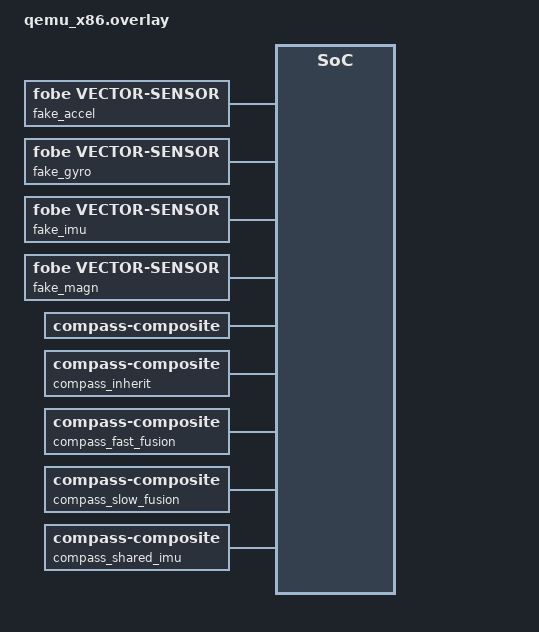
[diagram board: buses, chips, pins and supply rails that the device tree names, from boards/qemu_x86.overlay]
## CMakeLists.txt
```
# Copyright (c) 2026 FoBE Studio
# SPDX-License-Identifier: Apache-2.0

cmake_minimum_required(VERSION 3.20.0)

find_package(Zephyr REQUIRED HINTS $ENV{ZEPHYR_BASE})
project(compass_composite_test)

target_sources(app PRIVATE src/main.c)
```

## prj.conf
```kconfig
# SPDX-FileCopyrightText: FoBE Studio
# SPDX-License-Identifier: Apache-2.0

CONFIG_ZTEST=y
CONFIG_ASSERT=y

CONFIG_LOG=y
CONFIG_LOG_MODE_MINIMAL=y

CONFIG_SENSOR=y
CONFIG_COMPASS_COMPOSITE=y
```

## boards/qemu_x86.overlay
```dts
/*
 * Copyright (c) 2026 FoBE Studio
 *
 * SPDX-License-Identifier: Apache-2.0
 */

/ {
	fake_accel: fake_accel {
		compatible = "fobe,vector-sensor";
		status = "okay";
	};

	fake_gyro: fake_gyro {
		compatible = "fobe,vector-sensor";
		status = "okay";
	};

	fake_imu: fake_imu {
		compatible = "fobe,vector-sensor";
		status = "okay";
	};

	fake_magn: fake_magn {
		compatible = "fobe,vector-sensor";
		status = "okay";
	};

	compass: compass {
		compatible = "zephyr,compass-composite";
		accel-source = <&fake_accel>;
		gyro-source = <&fake_gyro>;
		magn-source = <&fake_magn>;
		calibration-sample-period-ms = <0>;
		gyro-fusion-alpha-milli = <1000>;
		imu-rate-override-supported;
		gyro-axis-remap = <1 0 2>;
		gyro-axis-sign = <1 1 1>;
	};

	compass_inherit: compass_inherit {
		compatible = "zephyr,compass-composite";
		accel-source = <&fake_accel>;
		gyro-source = <&fake_gyro>;
		magn-source = <&fake_magn>;
		gyro-fusion-alpha-milli = <1000>;
		accel-axis-remap = <1 0 2>;
		accel-axis-sign = <1 1 1>;
	};

	compass_fast_fusion: compass_fast_fusion {
		compatible = "zephyr,compass-composite";
		accel-source = <&fake_accel>;
		gyro-source = <&fake_gyro>;
		magn-source = <&fake_magn>;
		calibration-sample-period-ms = <0>;
		gyro-fusion-alpha-milli = <850>;
	};

	compass_slow_fusion: compass_slow_fusion {
		compatible = "zephyr,compass-composite";
		accel-source = <&fake_accel>;
		gyro-source = <&fake_gyro>;
		magn-source = <&fake_magn>;
		calibration-sample-period-ms = <0>;
		gyro-fusion-alpha-milli = <850>;
	};

	compass_shared_imu: compass_shared_imu {
		compatible = "zephyr,compass-composite";
		accel-source = <&fake_imu>;
		gyro-source = <&fake_imu>;
		magn-source = <&fake_magn>;
		calibration-sample-period-ms = <0>;
		gyro-fusion-alpha-milli = <850>;
	};
};
```

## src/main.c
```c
/*
 * Copyright (c) 2026 FoBE Studio
 *
 * SPDX-License-Identifier: Apache-2.0
 */

#include <math.h>
#include <stdint.h>

#include <zephyr/device.h>
#include <zephyr/drivers/sensor.h>
#include <drivers/sensor/compass_composite.h>
#include <zephyr/sys/util.h>
#include <zephyr/ztest.h>

#define ACCEL_NODE           DT_NODELABEL(fake_accel)
#define GYRO_NODE            DT_NODELABEL(fake_gyro)
#define IMU_NODE             DT_NODELABEL(fake_imu)
#define MAGN_NODE            DT_NODELABEL(fake_magn)
#define COMPASS_NODE         DT_NODELABEL(compass)
#define COMPASS_INHERIT_NODE DT_NODELABEL(compass_inherit)
#define COMPASS_FAST_NODE    DT_NODELABEL(compass_fast_fusion)
#define COMPASS_SLOW_NODE    DT_NODELABEL(compass_slow_fusion)
#define COMPASS_SHARED_NODE  DT_NODELABEL(compass_shared_imu)

struct vector_sensor_data {
	double xyz[3];
	double delayed_xyz[3];
	int generic_fetch_rc;
	int channel_fetch_rc;
	uint32_t fetch_count;
	uint32_t fetch_chan_count;
	uint32_t last_fetch_order;
	uint8_t valid_after_fetch_count;
	int accel_attr_set_rc;
	int gyro_attr_set_rc;
	struct sensor_value accel_rate;
	struct sensor_value gyro_rate;
};

static struct vector_sensor_data accel_data;
static struct vector_sensor_data gyro_data;
static struct vector_sensor_data imu_data;
static struct vector_sensor_data magn_data;
static uint32_t fetch_order;

static const struct device *const compass_dev = DEVICE_DT_GET(COMPASS_NODE);
static const struct device *const compass_inherit_dev = DEVICE_DT_GET(COMPASS_INHERIT_NODE);
static const struct device *const compass_fast_dev = DEVICE_DT_GET(COMPASS_FAST_NODE);
static const struct device *const compass_slow_dev = DEVICE_DT_GET(COMPASS_SLOW_NODE);
static const struct device *const compass_shared_dev = DEVICE_DT_GET(COMPASS_SHARED_NODE);

static const double level_xy_samples[][2] = {
	{0.30, 0.00},  {0.21, 0.21},   {0.00, 0.30},  {-0.21, 0.21},
	{-0.30, 0.00}, {-0.21, -0.21}, {0.00, -0.30}, {0.21, -0.21},
};

static int vector_sensor_init(const struct device *dev)
{
	ARG_UNUSED(dev);

	return 0;
}

static int vector_sensor_sample_fetch(const struct device *dev, enum sensor_channel chan)
{
	struct vector_sensor_data *data = dev->data;
	uint32_t total_fetch_count;

	data->last_fetch_order = ++fetch_order;
	if (chan == SENSOR_CHAN_ALL) {
		data->fetch_count++;
	} else {
		data->fetch_chan_count++;
	}

	total_fetch_count = data->fetch_count + data->fetch_chan_count;
	if ((data->valid_after_fetch_count > 0U) &&
	    (total_fetch_count >= data->valid_after_fetch_count)) {
		for (size_t i = 0; i < ARRAY_SIZE(data->xyz); i++) {
			data->xyz[i] = data->delayed_xyz[i];
		}
		data->valid_after_fetch_count = 0U;
	}

	return chan == SENSOR_CHAN_ALL ? data->generic_fetch_rc : data->channel_fetch_rc;
}

static int vector_sensor_channel_get(const struct device *dev, enum sensor_channel chan,
				     struct sensor_value *val)
{
	struct vector_sensor_data *data = dev->data;

	ARG_UNUSED(chan);

	for (size_t i = 0; i < 3; i++) {
		zassert_ok(sensor_value_from_double(&val[i], data->xyz[i]));
	}

	return 0;
}

static int vector_sensor_attr_set(const struct device *dev, enum sensor_channel chan,
				  enum sensor_attribute attr, const struct sensor_value *val)
{
	struct vector_sensor_data *data = dev->data;

	if (val == NULL || attr != SENSOR_ATTR_SAMPLING_FREQUENCY) {
		return -ENOTSUP;
	}
	if (chan == SENSOR_CHAN_ACCEL_XYZ) {
		if (data->accel_attr_set_rc != 0) {
			return data->accel_attr_set_rc;
		}
		data->accel_rate = *val;
		return 0;
	}
	if (chan == SENSOR_CHAN_GYRO_XYZ) {
		if (data->gyro_attr_set_rc != 0) {
			return data->gyro_attr_set_rc;
		}
		data->gyro_rate = *val;
		return 0;
	}
	return -ENOTSUP;
}

static int vector_sensor_attr_get(const struct device *dev, enum sensor_channel chan,
				  enum sensor_attribute attr, struct sensor_value *val)
{
	struct vector_sensor_data *data = dev->data;

	if (val == NULL || attr != SENSOR_ATTR_SAMPLING_FREQUENCY) {
		return -ENOTSUP;
	}
	if (chan == SENSOR_CHAN_ACCEL_XYZ) {
		*val = data->accel_rate;
		return 0;
	}
	if (chan == SENSOR_CHAN_GYRO_XYZ) {
		*val = data->gyro_rate;
		return 0;
	}
	return -ENOTSUP;
}

static DEVICE_API(sensor, vector_sensor_api) = {
	.sample_fetch = vector_sensor_sample_fetch,
	.channel_get = vector_sensor_channel_get,
	.attr_set = vector_sensor_attr_set,
	.attr_get = vector_sensor_attr_get,
};

DEVICE_DT_DEFINE(ACCEL_NODE, vector_sensor_init, NULL, &accel_data, NULL, POST_KERNEL, 80,
		 &vector_sensor_api);
DEVICE_DT_DEFINE(GYRO_NODE, vector_sensor_init, NULL, &gyro_data, NULL, POST_KERNEL, 80,
		 &vector_sensor_api);
DEVICE_DT_DEFINE(IMU_NODE, vector_sensor_init, NULL, &imu_data, NULL, POST_KERNEL, 80,
		 &vector_sensor_api);
DEVICE_DT_DEFINE(MAGN_NODE, vector_sensor_init, NULL, &magn_data, NULL, POST_KERNEL, 80,
		 &vector_sensor_api);

static void reset_vectors(void)
{
	struct sensor_value normal_rate = {.val1 = 12, .val2 = 500000};

	accel_data = (struct vector_sensor_data){.xyz = {0.0, 0.0, 1.0},
						.accel_rate = normal_rate,
						.gyro_rate = normal_rate};
	gyro_data = (struct vector_sensor_data){.xyz = {0.0, 0.0, 0.0},
					       .accel_rate = normal_rate,
					       .gyro_rate = normal_rate};
	imu_data = (struct vector_sensor_data){.xyz = {0.0, 0.0, 1.0},
					      .accel_rate = normal_rate,
					      .gyro_rate = normal_rate};
	magn_data = (struct vector_sensor_data){.xyz = {1.0, 0.0, 0.0},
					       .accel_rate = normal_rate,
					       .gyro_rate = normal_rate};
	fetch_order = 0U;
}

static void clear_compass_calibration(const struct device *dev)
{
	static const enum sensor_channel axes[] = {
		SENSOR_CHAN_MAGN_X,
		SENSOR_CHAN_MAGN_Y,
		SENSOR_CHAN_MAGN_Z,
	};
	struct sensor_value zero = {0};
	struct sensor_value trigger = {.val1 = 1};

	for (size_t i = 0; i < ARRAY_SIZE(axes); i++) {
		zassert_ok(sensor_attr_set(dev, axes[i], SENSOR_ATTR_COMPASS_MAG_SCALE, &zero));
	}

	zassert_ok(sensor_attr_set(dev, SENSOR_CHAN_COMPASS_HEADING, SENSOR_ATTR_COMPASS_CAL_RESET,
				   &trigger));
}

static void feed_level_xy_calibration_with_bias(const struct device *dev, double bias_x,
						double bias_y, double magn_z)
{
	for (size_t i = 0; i < ARRAY_SIZE(level_xy_samples); i++) {
		magn_data.xyz[0] = bias_x + level_xy_samples[i][0];
		magn_data.xyz[1] = bias_y + level_xy_samples[i][1];
		magn_data.xyz[2] = magn_z;
		zassert_ok(sensor_sample_fetch(dev));
	}
}

static void feed_level_xy_calibration(const struct device *dev)
{
	feed_level_xy_calibration_with_bias(dev, 0.0, 0.0, 0.02);
}

static double get_heading(const struct device *dev)
{
	struct sensor_value val;

	zassert_ok(sensor_channel_get(dev, SENSOR_CHAN_COMPASS_HEADING, &val));
	return sensor_value_to_double(&val);
}

static void *compass_setup(void)
{
	zassert_true(device_is_ready(compass_dev));
	zassert_true(device_is_ready(compass_inherit_dev));
	zassert_true(device_is_ready(compass_fast_dev));
	zassert_true(device_is_ready(compass_slow_dev));
	zassert_true(device_is_ready(compass_shared_dev));

	return NULL;
}

static void compass_before(void *fixture)
{
	ARG_UNUSED(fixture);

	reset_vectors();
	clear_compass_calibration(compass_dev);
	clear_compass_calibration(compass_inherit_dev);
	clear_compass_calibration(compass_fast_dev);
	clear_compass_calibration(compass_slow_dev);
	clear_compass_calibration(compass_shared_dev);
}

ZTEST(compass_composite, test_fetches_only_configured_channels)
{
	zassert_ok(sensor_sample_fetch(compass_dev));
	zassert_equal(accel_data.fetch_count, 0);
	zassert_equal(gyro_data.fetch_count, 0);
	zassert_equal(magn_data.fetch_count, 0);
	zassert_equal(accel_data.fetch_chan_count, 1);
	zassert_equal(gyro_data.fetch_chan_count, 1);
	zassert_equal(magn_data.fetch_chan_count, 1);
}

ZTEST(compass_composite, test_shared_imu_uses_one_burst_after_magnetometer)
{
	zassert_ok(sensor_sample_fetch(compass_shared_dev));
	zassert_equal(magn_data.fetch_chan_count, 1U);
	zassert_equal(imu_data.fetch_count, 1U);
	zassert_equal(imu_data.fetch_chan_count, 0U);
	zassert_true(magn_data.last_fetch_order < imu_data.last_fetch_order,
		     "magnetometer order=%u imu order=%u", magn_data.last_fetch_order,
		     imu_data.last_fetch_order);
}

ZTEST(compass_composite, test_imu_rate_override_restores_exact_rates)
{
	struct sensor_value rate;

	zassert_ok(compass_composite_imu_rate_override(compass_dev, 104U));
	zassert_ok(sensor_attr_get(DEVICE_DT_GET(ACCEL_NODE), SENSOR_CHAN_ACCEL_XYZ,
				   SENSOR_ATTR_SAMPLING_FREQUENCY, &rate));
	zassert_equal(rate.val1, 104);
	zassert_ok(sensor_attr_get(DEVICE_DT_GET(GYRO_NODE), SENSOR_CHAN_GYRO_XYZ,
				   SENSOR_ATTR_SAMPLING_FREQUENCY, &rate));
	zassert_equal(rate.val1, 104);
	zassert_ok(compass_composite_imu_rate_restore(compass_dev));
	zassert_ok(sensor_attr_get(DEVICE_DT_GET(ACCEL_NODE), SENSOR_CHAN_ACCEL_XYZ,
				   SENSOR_ATTR_SAMPLING_FREQUENCY, &rate));
	zassert_equal(rate.val1, 12);
	zassert_equal(rate.val2, 500000);
	zassert_ok(sensor_attr_get(DEVICE_DT_GET(GYRO_NODE), SENSOR_CHAN_GYRO_XYZ,
				   SENSOR_ATTR_SAMPLING_FREQUENCY, &rate));
	zassert_equal(rate.val1, 12);
	zassert_equal(rate.val2, 500000);
}

ZTEST(compass_composite, test_imu_rate_override_capability_follows_dts)
{
	struct sensor_value capabilities;
	struct sensor_value rate = {.val1 = 104};

	zassert_ok(sensor_attr_get(compass_dev, SENSOR_CHAN_COMPASS_HEADING,
				   SENSOR_ATTR_COMPASS_CAPABILITIES, &capabilities));
	zassert_true((capabilities.val1 & COMPASS_CAP_RATE_OVERRIDE) != 0);
	zassert_ok(sensor_attr_get(compass_inherit_dev, SENSOR_CHAN_COMPASS_HEADING,
				   SENSOR_ATTR_COMPASS_CAPABILITIES, &capabilities));
	zassert_false((capabilities.val1 & COMPASS_CAP_RATE_OVERRIDE) != 0);
	zassert_equal(sensor_attr_set(compass_inherit_dev, SENSOR_CHAN_COMPASS_HEADING,
				      SENSOR_ATTR_COMPASS_RATE_OVERRIDE, &rate),
		      -ENOTSUP);
	zassert_equal(compass_composite_imu_rate_override(compass_inherit_dev, 104U), -ENOTSUP);
	zassert_ok(compass_composite_imu_rate_restore(compass_inherit_dev));
}

ZTEST(compass_composite, test_imu_rate_override_rolls_back_partial_failure)
{
	struct sensor_value rate;

	gyro_data.gyro_attr_set_rc = -EIO;
	zassert_equal(compass_composite_imu_rate_override(compass_dev, 104U), -EIO);
	zassert_ok(sensor_attr_get(DEVICE_DT_GET(ACCEL_NODE), SENSOR_CHAN_ACCEL_XYZ,
				   SENSOR_ATTR_SAMPLING_FREQUENCY, &rate));
	zassert_equal(rate.val1, 12);
	zassert_equal(rate.val2, 500000);
	zassert_ok(compass_composite_imu_rate_restore(compass_dev));
}

ZTEST(compass_composite, test_channel_fetch_falls_back_to_generic_fetch)
{
	accel_data.channel_fetch_rc = -ENOTSUP;
	gyro_data.channel_fetch_rc = -ENOTSUP;
	magn_data.channel_fetch_rc = -ENOTSUP;

	zassert_ok(sensor_sample_fetch(compass_dev));
	zassert_equal(accel_data.fetch_count, 1);
	zassert_equal(gyro_data.fetch_count, 1);
	zassert_equal(magn_data.fetch_count, 1);
	zassert_equal(accel_data.fetch_chan_count, 1);
	zassert_equal(gyro_data.fetch_chan_count, 1);
	zassert_equal(magn_data.fetch_chan_count, 1);
}

ZTEST(compass_composite, test_retries_invalid_first_source_sample)
{
	accel_data.xyz[0] = 0.0;
	accel_data.xyz[1] = 0.0;
	accel_data.xyz[2] = 0.0;
	accel_data.delayed_xyz[0] = 0.0;
	accel_data.delayed_xyz[1] = 0.0;
	accel_data.delayed_xyz[2] = 1.0;
	accel_data.valid_after_fetch_count = 2U;

	zassert_ok(sensor_sample_fetch(compass_dev));
	zassert_equal(accel_data.fetch_chan_count, 2U);
	zassert_true(get_heading(compass_dev) >= 0.0);
}

ZTEST(compass_composite, test_independent_gyro_axis_mapping_affects_fusion)
{
	double before;
	double after;

	accel_data.xyz[0] = 1.0;
	accel_data.xyz[1] = 0.0;
	accel_data.xyz[2] = 0.0;
	magn_data.xyz[0] = 0.0;
	magn_data.xyz[1] = 1.0;
	magn_data.xyz[2] = 0.0;

	zassert_ok(sensor_sample_fetch(compass_dev));
	before = get_heading(compass_dev);

	k_sleep(K_MSEC(120));
	gyro_data.xyz[0] = 0.0;
	gyro_data.xyz[1] = 1.0;
	gyro_data.xyz[2] = 0.0;
	zassert_ok(sensor_sample_fetch(compass_dev));
	after = get_heading(compass_dev);

	zassert_true(fabs(after - before) > 1.0, "heading delta was %f", fabs(after - before));
}

ZTEST(compass_composite, test_gyro_mapping_inherits_accel_mapping_when_omitted)
{
	double before;
	double after;

	accel_data.xyz[0] = 0.0;
	accel_data.xyz[1] = 1.0;
	accel_data.xyz[2] = 0.0;
	magn_data.xyz[0] = 0.0;
	magn_data.xyz[1] = 1.0;
	magn_data.xyz[2] = 0.0;

	zassert_ok(sensor_sample_fetch(compass_inherit_dev));
	before = get_heading(compass_inherit_dev);

	k_sleep(K_MSEC(120));
	gyro_data.xyz[0] = 0.0;
	gyro_data.xyz[1] = 1.0;
	gyro_data.xyz[2] = 0.0;
	zassert_ok(sensor_sample_fetch(compass_inherit_dev));
	after = get_heading(compass_inherit_dev);

	zassert_true(fabs(after - before) > 1.0, "heading delta was %f", fabs(after - before));
}

ZTEST(compass_composite, test_fusion_response_is_sample_rate_invariant)
{
	double fast_heading;
	double slow_heading;

	magn_data.xyz[0] = 1.0;
	magn_data.xyz[1] = 0.0;
	zassert_ok(sensor_sample_fetch(compass_fast_dev));
	zassert_ok(sensor_sample_fetch(compass_slow_dev));

	magn_data.xyz[0] = 0.0;
	magn_data.xyz[1] = 1.0;
	for (size_t i = 0; i < 5U; i++) {
		k_sleep(K_MSEC(20));
		zassert_ok(sensor_sample_fetch(compass_fast_dev));
	}
	zassert_ok(sensor_sample_fetch(compass_slow_dev));

	fast_heading = get_heading(compass_fast_dev);
	slow_heading = get_heading(compass_slow_dev);
	zassert_within(fast_heading, slow_heading, 0.5,
		       "fast=%f slow=%f", fast_heading, slow_heading);
}

ZTEST(compass_composite, test_cal_reset_preserves_manual_override)
{
	struct sensor_value bias = {.val1 = 2, .val2 = 0};
	struct sensor_value scale = {.val1 = 3, .val2 = 0};
	struct sensor_value trigger = {.val1 = 1, .val2 = 0};
	struct sensor_value out;

	zassert_ok(sensor_attr_set(compass_dev, SENSOR_CHAN_MAGN_X, SENSOR_ATTR_COMPASS_MAG_BIAS,
				   &bias));
	zassert_ok(sensor_attr_set(compass_dev, SENSOR_CHAN_MAGN_X, SENSOR_ATTR_COMPASS_MAG_SCALE,
				   &scale));
	zassert_ok(sensor_attr_set(compass_dev, SENSOR_CHAN_COMPASS_HEADING,
				   SENSOR_ATTR_COMPASS_CAL_RESET, &trigger));
	zassert_ok(sensor_attr_get(compass_dev, SENSOR_CHAN_MAGN_X, SENSOR_ATTR_COMPASS_MAG_BIAS,
				   &out));
	zassert_equal(out.val1, 2);
	zassert_equal(out.val2, 0);
	zassert_ok(sensor_attr_get(compass_dev, SENSOR_CHAN_MAGN_X, SENSOR_ATTR_COMPASS_MAG_SCALE,
				   &out));
	zassert_equal(out.val1, 3);
	zassert_equal(out.val2, 0);
}

ZTEST(compass_composite, test_rejects_angle_attribute_overflow)
{
	struct sensor_value value = {.val1 = INT32_MAX};

	zassert_equal(sensor_attr_set(compass_dev, SENSOR_CHAN_COMPASS_HEADING,
				      SENSOR_ATTR_COMPASS_DECLINATION, &value),
		      -ERANGE);
	zassert_equal(sensor_attr_set(compass_dev, SENSOR_CHAN_COMPASS_HEADING,
				      SENSOR_ATTR_COMPASS_MOUNT_OFFSET, &value),
		      -ERANGE);
}

ZTEST(compass_composite, test_level_xy_coverage_satisfies_calibration_hint)
{
	struct sensor_value hint;
	struct sensor_value accuracy;
	struct sensor_value bias;
	struct sensor_value scale;

	feed_level_xy_calibration(compass_dev);

	zassert_ok(sensor_attr_get(compass_dev, SENSOR_CHAN_COMPASS_HEADING,
				   SENSOR_ATTR_COMPASS_CAL_HINT, &hint));
	zassert_not_equal(hint.val1, COMPASS_CAL_HINT_FIGURE_EIGHT);

	zassert_ok(sensor_attr_get(compass_dev, SENSOR_CHAN_COMPASS_HEADING,
				   SENSOR_ATTR_COMPASS_ACCURACY, &accuracy));
	zassert_true(accuracy.val1 >= COMPASS_ACCURACY_MEDIUM, "accuracy was %d", accuracy.val1);

	zassert_ok(sensor_attr_get(compass_dev, SENSOR_CHAN_MAGN_X,
				   SENSOR_ATTR_COMPASS_MAG_BIAS_EST, &bias));
	zassert_equal(sensor_attr_get(compass_dev, SENSOR_CHAN_MAGN_Z,
				      SENSOR_ATTR_COMPASS_MAG_BIAS_EST, &bias),
		      -EAGAIN);
	zassert_ok(sensor_attr_get(compass_dev, SENSOR_CHAN_MAGN_Z, SENSOR_ATTR_COMPASS_MAG_SCALE,
				   &scale));
	zassert_equal(scale.val1, 1);
	zassert_equal(scale.val2, 0);
}

ZTEST(compass_composite, test_calibration_requires_enough_samples)
{
	struct sensor_value bias;

	magn_data.xyz[0] = 0.30;
	magn_data.xyz[1] = 0.00;
	zassert_ok(sensor_sample_fetch(compass_dev));
	magn_data.xyz[0] = -0.30;
	zassert_ok(sensor_sample_fetch(compass_dev));

	zassert_equal(sensor_attr_get(compass_dev, SENSOR_CHAN_MAGN_X,
				      SENSOR_ATTR_COMPASS_MAG_BIAS_EST, &bias),
		      -EAGAIN);
}

ZTEST(compass_composite, test_calibration_window_uses_elapsed_time)
{
	struct sensor_value bias;

	feed_level_xy_calibration(compass_inherit_dev);
	zassert_equal(sensor_attr_get(compass_inherit_dev, SENSOR_CHAN_MAGN_X,
				      SENSOR_ATTR_COMPASS_MAG_BIAS_EST, &bias),
		      -EAGAIN);

	clear_compass_calibration(compass_inherit_dev);
	for (size_t i = 0; i < ARRAY_SIZE(level_xy_samples); i++) {
		if (i > 0U) {
			k_sleep(K_MSEC(110));
		}
		magn_data.xyz[0] = level_xy_samples[i][0];
		magn_data.xyz[1] = level_xy_samples[i][1];
		magn_data.xyz[2] = 0.02;
		zassert_ok(sensor_sample_fetch(compass_inherit_dev));
	}

	zassert_ok(sensor_attr_get(compass_inherit_dev, SENSOR_CHAN_MAGN_X,
				   SENSOR_ATTR_COMPASS_MAG_BIAS_EST, &bias));
}

ZTEST(compass_composite, test_new_calibration_rebaselines_field_stability)
{
	struct sensor_value accuracy;

	feed_level_xy_calibration_with_bias(compass_dev, 1.0, 0.5, 0.2);

	zassert_ok(sensor_attr_get(compass_dev, SENSOR_CHAN_COMPASS_HEADING,
				   SENSOR_ATTR_COMPASS_ACCURACY, &accuracy));
	zassert_true(accuracy.val1 >= COMPASS_ACCURACY_MEDIUM, "accuracy was %d", accuracy.val1);
}

ZTEST(compass_composite, test_xy_calibration_requires_level_sample_history)
{
	struct sensor_value bias;

	accel_data.xyz[0] = 0.60;
	accel_data.xyz[2] = 0.80;
	feed_level_xy_calibration(compass_dev);

	zassert_equal(sensor_attr_get(compass_dev, SENSOR_CHAN_MAGN_X,
				      SENSOR_ATTR_COMPASS_MAG_BIAS_EST, &bias),
		      -EAGAIN);
}

ZTEST(compass_composite, test_full_3d_coverage_estimates_all_axes)
{
	struct sensor_value bias;

	for (size_t sample = 0; sample < 8; sample++) {
		magn_data.xyz[0] = (sample & BIT(0)) != 0U ? 0.30 : -0.30;
		magn_data.xyz[1] = (sample & BIT(1)) != 0U ? 0.30 : -0.30;
		magn_data.xyz[2] = (sample & BIT(2)) != 0U ? 0.30 : -0.30;
		zassert_ok(sensor_sample_fetch(compass_dev));
	}

	zassert_ok(sensor_attr_get(compass_dev, SENSOR_CHAN_MAGN_Z,
				   SENSOR_ATTR_COMPASS_MAG_BIAS_EST, &bias));
}

ZTEST(compass_composite, test_estimated_calibration_survives_stationary_window)
{
	struct sensor_value hint;
	struct sensor_value accuracy;
	struct sensor_value bias;

	feed_level_xy_calibration(compass_dev);

	magn_data.xyz[0] = 0.30;
	magn_data.xyz[1] = 0.00;
	magn_data.xyz[2] = 0.02;

	for (size_t i = 0; i < 80; i++) {
		zassert_ok(sensor_sample_fetch(compass_dev));
	}

	zassert_ok(sensor_attr_get(compass_dev, SENSOR_CHAN_COMPASS_HEADING,
				   SENSOR_ATTR_COMPASS_CAL_HINT, &hint));
	zassert_not_equal(hint.val1, COMPASS_CAL_HINT_FIGURE_EIGHT);

	zassert_ok(sensor_attr_get(compass_dev, SENSOR_CHAN_COMPASS_HEADING,
				   SENSOR_ATTR_COMPASS_ACCURACY, &accuracy));
	zassert_true(accuracy.val1 >= COMPASS_ACCURACY_MEDIUM, "accuracy was %d", accuracy.val1);

	zassert_ok(sensor_attr_get(compass_dev, SENSOR_CHAN_MAGN_X,
				   SENSOR_ATTR_COMPASS_MAG_BIAS_EST, &bias));
}

ZTEST_SUITE(compass_composite, NULL, compass_setup, compass_before, NULL, NULL);
```
